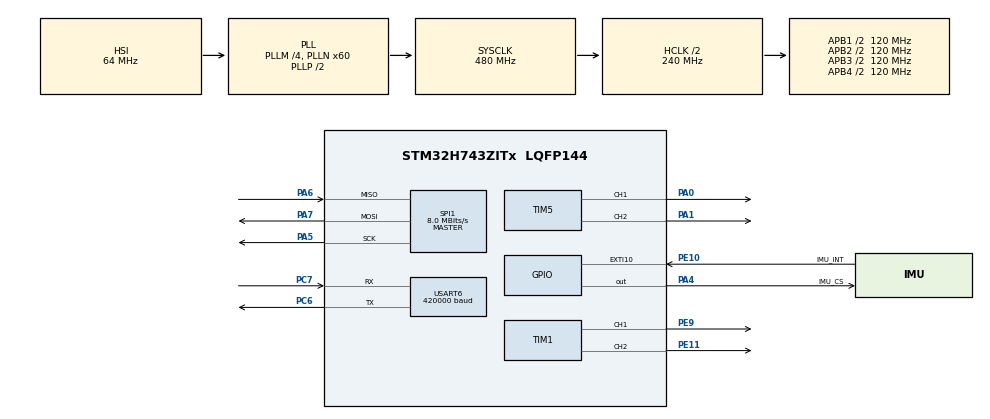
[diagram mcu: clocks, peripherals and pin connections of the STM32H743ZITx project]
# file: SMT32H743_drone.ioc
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CORTEX_M7.default_mode_Activation=1
Dma.Request0=TIM1_CH1
Dma.Request1=TIM1_CH2
Dma.Request2=TIM5_CH1
Dma.Request3=TIM5_CH2
Dma.Request4=USART6_RX
Dma.TIM1_CH1.0.Direction=DMA_MEMORY_TO_PERIPH
Dma.TIM1_CH1.0.EventEnable=DISABLE
Dma.TIM1_CH1.0.FIFOMode=DMA_FIFOMODE_DISABLE
Dma.TIM1_CH1.0.Instance=DMA1_Stream0
Dma.TIM1_CH1.0.MemDataAlignment=DMA_MDATAALIGN_WORD
Dma.TIM1_CH1.0.MemInc=DMA_MINC_ENABLE
Dma.TIM1_CH1.0.Mode=DMA_NORMAL
Dma.TIM1_CH1.0.PeriphDataAlignment=DMA_PDATAALIGN_WORD
Dma.TIM1_CH1.0.PeriphInc=DMA_PINC_DISABLE
Dma.TIM1_CH1.0.Polarity=HAL_DMAMUX_REQ_GEN_RISING
Dma.TIM1_CH1.0.Priority=DMA_PRIORITY_VERY_HIGH
Dma.TIM1_CH1.0.RequestNumber=1
Dma.TIM1_CH1.0.SignalID=NONE
Dma.TIM1_CH1.0.SyncEnable=DISABLE
Dma.TIM1_CH1.0.SyncPolarity=HAL_DMAMUX_SYNC_NO_EVENT
Dma.TIM1_CH1.0.SyncRequestNumber=1
Dma.TIM1_CH1.0.SyncSignalID=NONE
Dma.TIM1_CH2.1.Direction=DMA_MEMORY_TO_PERIPH
Dma.TIM1_CH2.1.EventEnable=DISABLE
Dma.TIM1_CH2.1.FIFOMode=DMA_FIFOMODE_DISABLE
Dma.TIM1_CH2.1.Instance=DMA1_Stream1
Dma.TIM1_CH2.1.MemDataAlignment=DMA_MDATAALIGN_WORD
Dma.TIM1_CH2.1.MemInc=DMA_MINC_ENABLE
Dma.TIM1_CH2.1.Mode=DMA_NORMAL
Dma.TIM1_CH2.1.PeriphDataAlignment=DMA_PDATAALIGN_WORD
Dma.TIM1_CH2.1.PeriphInc=DMA_PINC_DISABLE
Dma.TIM1_CH2.1.Polarity=HAL_DMAMUX_REQ_GEN_RISING
Dma.TIM1_CH2.1.Priority=DMA_PRIORITY_VERY_HIGH
Dma.TIM1_CH2.1.RequestNumber=1
Dma.TIM1_CH2.1.SignalID=NONE
Dma.TIM1_CH2.1.SyncEnable=DISABLE
Dma.TIM1_CH2.1.SyncPolarity=HAL_DMAMUX_SYNC_NO_EVENT
Dma.TIM1_CH2.1.SyncRequestNumber=1
Dma.TIM1_CH2.1.SyncSignalID=NONE
Dma.TIM5_CH1.2.Direction=DMA_MEMORY_TO_PERIPH
Dma.TIM5_CH1.2.EventEnable=DISABLE
Dma.TIM5_CH1.2.FIFOMode=DMA_FIFOMODE_DISABLE
Dma.TIM5_CH1.2.Instance=DMA1_Stream2
Dma.TIM5_CH1.2.MemDataAlignment=DMA_MDATAALIGN_WORD
Dma.TIM5_CH1.2.MemInc=DMA_MINC_ENABLE
Dma.TIM5_CH1.2.Mode=DMA_NORMAL
Dma.TIM5_CH1.2.PeriphDataAlignment=DMA_PDATAALIGN_WORD
Dma.TIM5_CH1.2.PeriphInc=DMA_PINC_DISABLE
Dma.TIM5_CH1.2.Polarity=HAL_DMAMUX_REQ_GEN_RISING
Dma.TIM5_CH1.2.Priority=DMA_PRIORITY_VERY_HIGH
Dma.TIM5_CH1.2.RequestNumber=1
Dma.TIM5_CH1.2.SignalID=NONE
Dma.TIM5_CH1.2.SyncEnable=DISABLE
Dma.TIM5_CH1.2.SyncPolarity=HAL_DMAMUX_SYNC_NO_EVENT
Dma.TIM5_CH1.2.SyncRequestNumber=1
Dma.TIM5_CH1.2.SyncSignalID=NONE
Dma.TIM5_CH2.3.Direction=DMA_MEMORY_TO_PERIPH
Dma.TIM5_CH2.3.EventEnable=DISABLE
Dma.TIM5_CH2.3.FIFOMode=DMA_FIFOMODE_DISABLE
Dma.TIM5_CH2.3.Instance=DMA1_Stream3
Dma.TIM5_CH2.3.MemDataAlignment=DMA_MDATAALIGN_WORD
Dma.TIM5_CH2.3.MemInc=DMA_MINC_ENABLE
Dma.TIM5_CH2.3.Mode=DMA_NORMAL
Dma.TIM5_CH2.3.PeriphDataAlignment=DMA_PDATAALIGN_WORD
Dma.TIM5_CH2.3.PeriphInc=DMA_PINC_DISABLE
Dma.TIM5_CH2.3.Polarity=HAL_DMAMUX_REQ_GEN_RISING
Dma.TIM5_CH2.3.Priority=DMA_PRIORITY_VERY_HIGH
Dma.TIM5_CH2.3.RequestNumber=1
Dma.TIM5_CH2.3.SignalID=NONE
Dma.TIM5_CH2.3.SyncEnable=DISABLE
Dma.TIM5_CH2.3.SyncPolarity=HAL_DMAMUX_SYNC_NO_EVENT
Dma.TIM5_CH2.3.SyncRequestNumber=1
Dma.TIM5_CH2.3.SyncSignalID=NONE
Dma.USART6_RX.4.Direction=DMA_PERIPH_TO_MEMORY
Dma.USART6_RX.4.EventEnable=DISABLE
Dma.USART6_RX.4.FIFOMode=DMA_FIFOMODE_DISABLE
Dma.USART6_RX.4.Instance=DMA1_Stream4
Dma.USART6_RX.4.MemDataAlignment=DMA_MDATAALIGN_BYTE
Dma.USART6_RX.4.MemInc=DMA_MINC_ENABLE
Dma.USART6_RX.4.Mode=DMA_CIRCULAR
Dma.USART6_RX.4.PeriphDataAlignment=DMA_PDATAALIGN_BYTE
Dma.USART6_RX.4.PeriphInc=DMA_PINC_DISABLE
Dma.USART6_RX.4.Polarity=HAL_DMAMUX_REQ_GEN_RISING
Dma.USART6_RX.4.Priority=DMA_PRIORITY_LOW
Dma.USART6_RX.4.RequestNumber=1
Dma.USART6_RX.4.SignalID=NONE
Dma.USART6_RX.4.SyncEnable=DISABLE
Dma.USART6_RX.4.SyncPolarity=HAL_DMAMUX_SYNC_NO_EVENT
Dma.USART6_RX.4.SyncRequestNumber=1
Dma.USART6_RX.4.SyncSignalID=NONE
Mcu.Family=STM32H7
Mcu.Name=STM32H743ZITx
Mcu.Package=LQFP144
NVIC.DMA1_Stream0_IRQn=true\:0\:0\:false\:false\:true\:false\:true\:true
NVIC.DMA1_Stream1_IRQn=true\:0\:0\:false\:false\:true\:false\:true\:true
NVIC.DMA1_Stream2_IRQn=true\:0\:0\:false\:false\:true\:false\:true\:true
NVIC.DMA1_Stream3_IRQn=true\:0\:0\:false\:false\:true\:false\:true\:true
NVIC.DMA1_Stream4_IRQn=true\:0\:0\:false\:false\:true\:false\:true\:true
NVIC.EXTI15_10_IRQn=true\:0\:0\:false\:false\:true\:true\:true\:true
NVIC.PriorityGroup=NVIC_PRIORITYGROUP_4
NVIC.USART6_IRQn=true\:0\:0\:false\:false\:true\:true\:true\:true
PA0.Signal=S_TIM5_CH1
PA1.Signal=S_TIM5_CH2
PA4.GPIO_Label=IMU_CS
PA4.GPIO_Speed=GPIO_SPEED_FREQ_VERY_HIGH
PA4.PinState=GPIO_PIN_SET
PA4.Signal=GPIO_Output
PA5.GPIO_Speed=GPIO_SPEED_FREQ_VERY_HIGH
PA5.Mode=Full_Duplex_Master
PA5.Signal=SPI1_SCK
PA6.GPIO_Speed=GPIO_SPEED_FREQ_VERY_HIGH
PA6.Mode=Full_Duplex_Master
PA6.Signal=SPI1_MISO
PA7.GPIO_Speed=GPIO_SPEED_FREQ_VERY_HIGH
PA7.Mode=Full_Duplex_Master
PA7.Signal=SPI1_MOSI
PC6.Mode=Asynchronous
PC6.Signal=USART6_TX
PC7.Mode=Asynchronous
PC7.Signal=USART6_RX
PE10.GPIO_Label=IMU_INT
PE10.Signal=GPXTI10
PE11.Signal=S_TIM1_CH2
PE9.Signal=S_TIM1_CH1
ProjectManager.HeapSize=0x200
ProjectManager.StackSize=0x400
ProjectManager.TargetToolchain=CMake
RCC.ADCFreq_Value=129000000
RCC.APB1Freq_Value=120000000
RCC.APB2Freq_Value=120000000
RCC.APB3Freq_Value=120000000
RCC.APB4Freq_Value=120000000
RCC.CortexFreq_Value=480000000
RCC.D1PPRE=RCC_APB3_DIV2
RCC.D2PPRE1=RCC_APB1_DIV2
RCC.D2PPRE2=RCC_APB2_DIV2
RCC.D3PPRE=RCC_APB4_DIV2
RCC.DIVM1=4
RCC.DIVN1=60
RCC.HCLKFreq_Value=240000000
RCC.HPRE=RCC_HCLK_DIV2
RCC.PLL2FRACN=0
RCC.PLL3FRACN=0
RCC.PLLFRACN=0
RCC.SPI123CLockSelection=RCC_SPI123CLKSOURCE_CLKP
RCC.SYSCLKFreq_VALUE=480000000
RCC.SYSCLKSource=RCC_SYSCLKSOURCE_PLLCLK
RCC.USBFreq_Value=480000000
SH.S_TIM1_CH1.0=TIM1_CH1,PWM Generation1 CH1
SH.S_TIM1_CH2.0=TIM1_CH2,PWM Generation2 CH2
SH.S_TIM5_CH1.0=TIM5_CH1,PWM Generation1 CH1
SH.S_TIM5_CH2.0=TIM5_CH2,PWM Generation2 CH2
SPI1.BaudRatePrescaler=SPI_BAUDRATEPRESCALER_8
SPI1.CalculateBaudRate=8.0 MBits/s
SPI1.DataSize=SPI_DATASIZE_8BIT
SPI1.Direction=SPI_DIRECTION_2LINES
SPI1.Mode=SPI_MODE_MASTER
SPI1.VirtualType=VM_MASTER
TIM1.Channel-PWM\ Generation1\ CH1=TIM_CHANNEL_1
TIM1.Channel-PWM\ Generation2\ CH2=TIM_CHANNEL_2
TIM5.Channel-PWM\ Generation1\ CH1=TIM_CHANNEL_1
TIM5.Channel-PWM\ Generation2\ CH2=TIM_CHANNEL_2
USART6.BaudRate=420000
USART6.Mode=MODE_RX
USART6.VirtualMode-Asynchronous=VM_ASYNC
VP_MEMORYMAP_VS_MEMORYMAP.Mode=CurAppReg
board=custom

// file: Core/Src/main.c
/* USER CODE BEGIN Header */
/**
 ******************************************************************************
 * @file           : main.c
 * @brief          : Main program body
 ******************************************************************************
 * @attention
 *
 * Copyright (c) 2026 STMicroelectronics.
 * All rights reserved.
 *
 * This software is licensed under terms that can be found in the LICENSE file
 * in the root directory of this software component.
 * If no LICENSE file comes with this software, it is provided AS-IS.
 *
 ******************************************************************************
 */
/* USER CODE END Header */
#include "main.h"
#include "dma.h"
#include "spi.h"
#include "tim.h"
#include "usart.h"
#include "gpio.h"

/* USER CODE BEGIN Includes */
#include "helpers/dshot.h"
#include "helpers/motor.h"
#include "helpers/rx.h"
#include "helpers/imu.h"
#include "helpers/filter.h"
#include "helpers/pid.h"
#include "helpers/mixer.h"
#include "helpers/attitude.h"
#include "helpers/fault.h"

/* USER CODE END Includes */

/* USER CODE BEGIN PD */
/* AETR channel order, as ELRS sends it by default */
#define CH_ROLL      0u
#define CH_PITCH     1u
#define CH_THROTTLE  2u
#define CH_YAW       3u
#define CH_ARM       4u
#define CH_MODE      5u   /* switch high = angle mode, low = acro */

/* DShot 0..47 are reserved commands; 48..2047 is real throttle. */
#define DSHOT_THROTTLE_MIN  48u
#define DSHOT_THROTTLE_SPAN 1999u

/* Throttle must be below this fraction of travel to arm, and to stay idle. */
#define ARM_THROTTLE_MAX    0.05f

/* Loop iterations ignored before timing statistics start accumulating. */
#define LOOP_STATS_SKIP     10u

/* Full stick deflection, in deg/s. Deliberately gentle for a first build -
   a competition acro setup would be closer to 800. */
#define MAX_RATE_ROLL       200.0f
#define MAX_RATE_PITCH      200.0f
#define MAX_RATE_YAW        200.0f

/* Below this throttle the aircraft is not flying, so the controller is held
   in reset rather than integrating against the ground. */
#define IDLE_THROTTLE       0.05f

/* Minimum spin while armed. Stationary motors give the controller no
   authority at all, and an ESC that has stopped takes time to restart. */
#define IDLE_MOTOR          0.04f

/* Angle mode: full stick commands this much lean, and the outer loop turns
   angle error into a rate demand at this gain (1/s). */
#define MAX_ANGLE_DEG       30.0f
#define ANGLE_P             6.0f

/* Complementary filter time constant, seconds. */
#define ATTITUDE_TAU        1.0f
/* USER CODE END PD */

/* USER CODE BEGIN PV */
__attribute__((section(".dma_buffer"))) __attribute__((aligned(32)))
Motor_t motors[4];

/* Inspect these in the debugger: g_imu_id should read 0x47. */
volatile uint8_t    g_imu_id;
volatile IMU_Status g_imu_status;
volatile uint32_t   g_imu_attempts;

/* Live sensor data, refreshed every pass of the main loop. */
IMU_Raw_t  g_imu_raw;
IMU_Data_t g_imu_data;
uint32_t   g_imu_drdy;

/* Loop timing diagnostics. dt is seconds; the min/max are microseconds. */
IMU_Rates_t g_rates;
float       g_dt;
uint32_t    g_loop_count;
uint32_t    g_loop_us_min = 0xFFFFFFFFu;
uint32_t    g_loop_us_max;
bool        g_cal_ok;
uint32_t    g_drdy_missed;

/* Controller state, exposed so gains can be tweaked live in the debugger. */
PID_t  g_pidRoll, g_pidPitch, g_pidYaw;
float  g_setpoint[3];      /* roll, pitch, yaw - deg/s */
float  g_pidOut[3];
float  g_motorMix[MIXER_MOTORS];
float  g_mixClipped;
bool   g_armed;
bool   g_angleMode;
Attitude_t g_attitude;
bool   g_accelTrusted;
float  g_trustRatio;
float  g_gyroBias[3];
/* USER CODE END PV */

void SystemClock_Config(void);
void PeriphCommonClock_Config(void);
static void MPU_Config(void);

/* USER CODE BEGIN 0 */
/* The Cortex-M7 debug unit has a free-running cycle counter, far finer
   grained than the 1 ms SysTick. At 480 MHz it wraps every ~9 seconds.

   Always subtract raw cycle counts and convert afterwards. Unsigned
   subtraction survives the rollover only because the counter wraps at
   exactly 2^32; dividing first moves the wrap point to an arbitrary value
   and breaks that guarantee. */
static uint32_t s_cyclesPerUs = 480u;

static void DWT_Init(void)
{
  CoreDebug->DEMCR |= CoreDebug_DEMCR_TRCENA_Msk;
  DWT->CYCCNT = 0;
  DWT->CTRL |= DWT_CTRL_CYCCNTENA_Msk;

  s_cyclesPerUs = SystemCoreClock / 1000000u;
}

static inline uint32_t cycles(void)
{
  return DWT->CYCCNT;
}
/* USER CODE END 0 */

int main(void)
{

  /* USER CODE BEGIN 1 */
  /* Instruction cache. Code runs from flash, which is much slower than the
     480 MHz core, so this is most of the performance the M7 has to offer.
     No coherency concerns: nothing writes to instruction memory.
     The data cache is deliberately left off for now - it would need every
     DMA buffer handled carefully, for very little gain on data this small. */
  SCB_EnableICache();

  /* Route memory-management, bus and usage faults to their own handlers.
     They are disabled out of reset, so everything escalates into a single
     HardFault and the specific cause is lost. */
  SCB->SHCSR |= SCB_SHCSR_USGFAULTENA_Msk
              | SCB_SHCSR_BUSFAULTENA_Msk
              | SCB_SHCSR_MEMFAULTENA_Msk;
  /* USER CODE END 1 */

  /* MPU Configuration--------------------------------------------------------*/
  MPU_Config();

  /* MCU Configuration--------------------------------------------------------*/

  /* Reset of all peripherals, Initializes the Flash interface and the Systick. */
  HAL_Init();

  /* USER CODE BEGIN Init */
  /* On battery the MCU starts executing microseconds after its rail begins
     to ramp, while the ESCs are drawing inrush current and pulling it about.
     Powered over USB the supply is already settled, which is why this only
     misbehaves on battery. Give everything a moment before touching any
     peripheral. */
  /* USER CODE END Init */

  /* Configure the system clock */
  SystemClock_Config();

  /* Configure the peripherals common clocks */
  PeriphCommonClock_Config();

  /* Initialize all configured peripherals */
  MX_GPIO_Init();
  MX_DMA_Init();
  MX_TIM1_Init();
  MX_TIM5_Init();
  MX_USART6_UART_Init();
  MX_SPI1_Init();
  /* USER CODE BEGIN 2 */
  /* Stop the motor timers whenever the debugger halts the core. Without
     this the timers and DMA keep running while the CPU is stopped, which
     truncates the DShot frame in flight and leaves the ESCs seeing a
     corrupted pulse stream. */
  __HAL_DBGMCU_FREEZE_TIM1();
  __HAL_DBGMCU_FREEZE_TIM5();

  DWT_Init();

  /* Interrupt priority plan. Lower number = higher priority. CubeMX puts
     everything at 0, which means nothing can preempt anything - fine while
     all the handlers are short, but the gyro sets the pace of the control
     loop and must never wait behind CRSF frame parsing, which is by far the
     longest handler here. */
  HAL_NVIC_SetPriority(EXTI15_10_IRQn, 1, 0);   /* gyro data-ready  */
  HAL_NVIC_SetPriority(DMA1_Stream0_IRQn, 2, 0);/* DShot completion */
  HAL_NVIC_SetPriority(DMA1_Stream1_IRQn, 2, 0);
  HAL_NVIC_SetPriority(DMA1_Stream2_IRQn, 2, 0);
  HAL_NVIC_SetPriority(DMA1_Stream3_IRQn, 2, 0);
  HAL_NVIC_SetPriority(DMA1_Stream4_IRQn, 5, 0);/* CRSF receive     */
  HAL_NVIC_SetPriority(USART6_IRQn, 5, 0);

  crsf_start(&huart6);

  /* At cold power-on the IMU's own supply is still ramping while the STM32
     is already running, so the first attempt can find a chip that is not
     ready to answer. A warm reset does not have this problem, which is why
     it appears to work only after pressing RST. */
  g_imu_status = IMU_ERR_SPI;

  for (g_imu_attempts = 1u; g_imu_attempts <= 5u; g_imu_attempts++)
  {
    HAL_Delay(50);

    g_imu_status = IMU_Init(&hspi1);

    if (g_imu_status == IMU_OK)
    {
      break;
    }
  }

  g_imu_id = IMU_WhoAmI();

  /* Measure the gyro's zero offset. The craft must be still for this - it
     returns false if it saw movement, and then the bias stays at zero. */
  g_cal_ok = IMU_Calibrate(1000);

  /* Conservative starting gains - these WILL need tuning on the aircraft.
     The D cutoff is deliberately low; D is where gyro noise does its damage. */
  const float dt = 1.0f / IMU_SAMPLE_RATE_HZ;
  PID_Init(&g_pidRoll,  0.0015f, 0.0020f, 0.000020f, 0.10f, 60.0f, dt);
  PID_Init(&g_pidPitch, 0.0015f, 0.0020f, 0.000020f, 0.10f, 60.0f, dt);
  PID_Init(&g_pidYaw,   0.0025f, 0.0040f, 0.0f,      0.10f, 60.0f, dt);

  Attitude_Init(ATTITUDE_TAU, dt);

  Motor_Init(&motors[0], &htim1, TIM_CHANNEL_1, DSHOT600, 240000000);
  Motor_Init(&motors[1], &htim1, TIM_CHANNEL_2, DSHOT600, 240000000);
  Motor_Init(&motors[2], &htim5, TIM_CHANNEL_1, DSHOT600, 240000000);
  Motor_Init(&motors[3], &htim5, TIM_CHANNEL_2, DSHOT600, 240000000);

  /* ESC arming: 2 s of zero-throttle DShot before anything else. */
  for (int i = 0; i < 2000; i++)
  {
    crsf_update();

    Motor_Write(&motors[0], 0);
    Motor_Write(&motors[1], 0);
    Motor_Write(&motors[2], 0);
    Motor_Write(&motors[3], 0);
    HAL_Delay(1);
  }
  /* USER CODE END 2 */

  /* Infinite loop */
  /* USER CODE BEGIN WHILE */
  /* Startup produced samples nobody was consuming; that is not an overrun.
     Reset the counters and stamp the clock immediately before the loop. */
  IMU_DrdyResetStats();

  bool     armed = false;
  uint32_t lastCyc = cycles();

  while (1)
  {
    /* The gyro sets the pace. Every iteration is exactly one sensor sample,
       so dt is constant by construction rather than by hoping HAL_Delay was
       accurate - which is what the PID derivative term depends on. */
    if (!IMU_DrdyPending())
    {
      continue;
    }

    const uint32_t nowCyc = cycles();
    const uint32_t elapsedCyc = nowCyc - lastCyc;   /* wrap-safe: raw cycles */
    lastCyc = nowCyc;

    const uint32_t elapsed = elapsedCyc / s_cyclesPerUs;

    g_dt = (float)elapsedCyc / (float)SystemCoreClock;
    g_loop_count++;
    g_drdy_missed = IMU_DrdyMissed();

    /* The first interval spans startup, and the second is only a fragment
       of a sample period - the loop starts at a random phase within it.
       Both would poison the statistics. */
    if (g_loop_count > LOOP_STATS_SKIP)
    {
      if (elapsed < g_loop_us_min) { g_loop_us_min = elapsed; }
      if (elapsed > g_loop_us_max) { g_loop_us_max = elapsed; }
    }

    IMU_Update();
    g_rates    = IMU_GetRates();
    g_imu_data = IMU_GetData();
    g_imu_drdy = IMU_DrdyCount();

    float accelBody[3];
    IMU_GetAccelBody(accelBody);
    Attitude_Update(&g_rates, accelBody, g_dt);
    g_attitude     = Attitude_Get();
    g_accelTrusted = Attitude_AccelTrusted();
    g_trustRatio   = Attitude_TrustRatio();
    IMU_GetBias(g_gyroBias);

    crsf_update();

    const float t = crsf_unit(CH_THROTTLE);

    /* Arming latch. Entering the armed state requires the throttle to be
       down; without that, flipping the arm switch with the stick already up
       spins every motor to that throttle instantly. Losing the link or the
       arm switch drops straight back out. */
    if (crsf_is_failsafe() || !crsf_switch_high(CH_ARM))
    {
      armed = false;
    }
    else if (!armed && t < ARM_THROTTLE_MAX)
    {
      armed = true;
    }

    g_armed = armed;

    /* Re-measure the gyro zero only on the ground. Doing this in flight
       would teach the controller that a real rotation is its own error. */
    IMU_AllowBiasTracking(!armed);

    /* Sticks set the rate we are asking for, not an angle - this is acro
       mode. Centred sticks mean "hold zero rotation", which is what makes
       the aircraft feel locked in rather than self-levelling. */
    const float stickRoll  =  crsf_norm(CH_ROLL);
    const float stickPitch = -crsf_norm(CH_PITCH);   /* TX sends this inverted */
    const float stickYaw   =  crsf_norm(CH_YAW);

    g_angleMode = crsf_switch_high(CH_MODE);

    if (g_angleMode)
    {
      /* Cascaded control: the stick asks for a lean angle, an outer P loop
         turns the angle error into a rate demand, and the same rate PID as
         acro mode flies it. Centre the sticks and the demanded angle is
         zero, so the aircraft levels itself. */
      const float wantRoll  = stickRoll  * MAX_ANGLE_DEG;
      const float wantPitch = stickPitch * MAX_ANGLE_DEG;

      g_setpoint[0] = (wantRoll  - g_attitude.roll)  * ANGLE_P;
      g_setpoint[1] = (wantPitch - g_attitude.pitch) * ANGLE_P;

      /* The outer loop must never ask for more than the airframe can give. */
      if (g_setpoint[0] >  MAX_RATE_ROLL)  { g_setpoint[0] =  MAX_RATE_ROLL; }
      if (g_setpoint[0] < -MAX_RATE_ROLL)  { g_setpoint[0] = -MAX_RATE_ROLL; }
      if (g_setpoint[1] >  MAX_RATE_PITCH) { g_setpoint[1] =  MAX_RATE_PITCH; }
      if (g_setpoint[1] < -MAX_RATE_PITCH) { g_setpoint[1] = -MAX_RATE_PITCH; }
    }
    else
    {
      g_setpoint[0] = stickRoll  * MAX_RATE_ROLL;
      g_setpoint[1] = stickPitch * MAX_RATE_PITCH;
    }

    /* Yaw is always rate-controlled: gravity says nothing about heading. */
    g_setpoint[2] = stickYaw * MAX_RATE_YAW;

    const bool flying = armed && (t > IDLE_THROTTLE);

    if (flying)
    {
      g_pidOut[0] = PID_Update(&g_pidRoll,  g_setpoint[0], g_rates.roll,  g_dt);
      g_pidOut[1] = PID_Update(&g_pidPitch, g_setpoint[1], g_rates.pitch, g_dt);
      g_pidOut[2] = PID_Update(&g_pidYaw,   g_setpoint[2], g_rates.yaw,   g_dt);
    }
    else
    {
      /* Held in reset on the ground: otherwise the integral term winds up
         against an aircraft that physically cannot respond, and dumps that
         accumulated correction into the motors the moment it lifts off. */
      PID_Reset(&g_pidRoll);
      PID_Reset(&g_pidPitch);
      PID_Reset(&g_pidYaw);

      g_pidOut[0] = g_pidOut[1] = g_pidOut[2] = 0.0f;
    }

    float mixThrottle = 0.0f;

    if (armed)
    {
      mixThrottle = flying ? t : IDLE_MOTOR;
    }

    g_mixClipped = Mixer_Apply(mixThrottle,
                               g_pidOut[0], g_pidOut[1], g_pidOut[2],
                               g_motorMix);

    for (int i = 0; i < MIXER_MOTORS; i++)
    {
      uint16_t v = 0;

      if (armed)
      {
        v = (uint16_t)(DSHOT_THROTTLE_MIN + g_motorMix[i] * DSHOT_THROTTLE_SPAN);
      }

      Motor_Write(&motors[i], v);
    }
    /* USER CODE END WHILE */

  }
}

void SystemClock_Config(void)
{
  RCC_OscInitTypeDef RCC_OscInitStruct = {0};
  RCC_ClkInitTypeDef RCC_ClkInitStruct = {0};

  /** Supply configuration update enable
  */
  HAL_PWREx_ConfigSupply(PWR_LDO_SUPPLY);

  /** Configure the main internal regulator output voltage
  */
  __HAL_PWR_VOLTAGESCALING_CONFIG(PWR_REGULATOR_VOLTAGE_SCALE0);

  while(!__HAL_PWR_GET_FLAG(PWR_FLAG_VOSRDY)) {}

  /** Initializes the RCC Oscillators according to the specified parameters
  * in the RCC_OscInitTypeDef structure.
  */
  RCC_OscInitStruct.OscillatorType = RCC_OSCILLATORTYPE_HSI;
  RCC_OscInitStruct.HSIState = RCC_HSI_DIV1;
  RCC_OscInitStruct.HSICalibrationValue = RCC_HSICALIBRATION_DEFAULT;
  RCC_OscInitStruct.PLL.PLLState = RCC_PLL_ON;
  RCC_OscInitStruct.PLL.PLLSource = RCC_PLLSOURCE_HSI;
  RCC_OscInitStruct.PLL.PLLM = 4;
  RCC_OscInitStruct.PLL.PLLN = 60;
  RCC_OscInitStruct.PLL.PLLP = 2;
  RCC_OscInitStruct.PLL.PLLQ = 2;
  RCC_OscInitStruct.PLL.PLLR = 2;
  RCC_OscInitStruct.PLL.PLLRGE = RCC_PLL1VCIRANGE_3;
  RCC_OscInitStruct.PLL.PLLVCOSEL = RCC_PLL1VCOWIDE;
  RCC_OscInitStruct.PLL.PLLFRACN = 0;
  if (HAL_RCC_OscConfig(&RCC_OscInitStruct) != HAL_OK)
  {
    Error_Handler();
  }

  /** Initializes the CPU, AHB and APB buses clocks
  */
  RCC_ClkInitStruct.ClockType = RCC_CLOCKTYPE_HCLK|RCC_CLOCKTYPE_SYSCLK
                              |RCC_CLOCKTYPE_PCLK1|RCC_CLOCKTYPE_PCLK2
                              |RCC_CLOCKTYPE_D3PCLK1|RCC_CLOCKTYPE_D1PCLK1;
  RCC_ClkInitStruct.SYSCLKSource = RCC_SYSCLKSOURCE_PLLCLK;
  RCC_ClkInitStruct.SYSCLKDivider = RCC_SYSCLK_DIV1;
  RCC_ClkInitStruct.AHBCLKDivider = RCC_HCLK_DIV2;
  RCC_ClkInitStruct.APB3CLKDivider = RCC_APB3_DIV2;
  RCC_ClkInitStruct.APB1CLKDivider = RCC_APB1_DIV2;
  RCC_ClkInitStruct.APB2CLKDivider = RCC_APB2_DIV2;
  RCC_ClkInitStruct.APB4CLKDivider = RCC_APB4_DIV2;

  if (HAL_RCC_ClockConfig(&RCC_ClkInitStruct, FLASH_LATENCY_4) != HAL_OK)
  {
    Error_Handler();
  }
}

void PeriphCommonClock_Config(void)
{
  RCC_PeriphCLKInitTypeDef PeriphClkInitStruct = {0};

  /** Initializes the peripherals clock
  */
  PeriphClkInitStruct.PeriphClockSelection = RCC_PERIPHCLK_CKPER;
  PeriphClkInitStruct.CkperClockSelection = RCC_CLKPSOURCE_HSI;
  if (HAL_RCCEx_PeriphCLKConfig(&PeriphClkInitStruct) != HAL_OK)
  {
    Error_Handler();
  }
}

 /* MPU Configuration */

void MPU_Config(void)
{
  MPU_Region_InitTypeDef MPU_InitStruct = {0};

  /* Disables the MPU */
  HAL_MPU_Disable();

  /** Initializes and configures the Region and the memory to be protected
  */
  MPU_InitStruct.Enable = MPU_REGION_ENABLE;
  MPU_InitStruct.Number = MPU_REGION_NUMBER0;
  MPU_InitStruct.BaseAddress = 0x0;
  MPU_InitStruct.Size = MPU_REGION_SIZE_4GB;
  MPU_InitStruct.SubRegionDisable = 0x87;
  MPU_InitStruct.TypeExtField = MPU_TEX_LEVEL0;
  MPU_InitStruct.AccessPermission = MPU_REGION_NO_ACCESS;
  MPU_InitStruct.DisableExec = MPU_INSTRUCTION_ACCESS_DISABLE;
  MPU_InitStruct.IsShareable = MPU_ACCESS_SHAREABLE;
  MPU_InitStruct.IsCacheable = MPU_ACCESS_NOT_CACHEABLE;
  MPU_InitStruct.IsBufferable = MPU_ACCESS_NOT_BUFFERABLE;

  HAL_MPU_ConfigRegion(&MPU_InitStruct);
  /* Enables the MPU */
  HAL_MPU_Enable(MPU_PRIVILEGED_DEFAULT);

}

void Error_Handler(void)
{
  __disable_irq();
  while (1)
  {
  }
}
